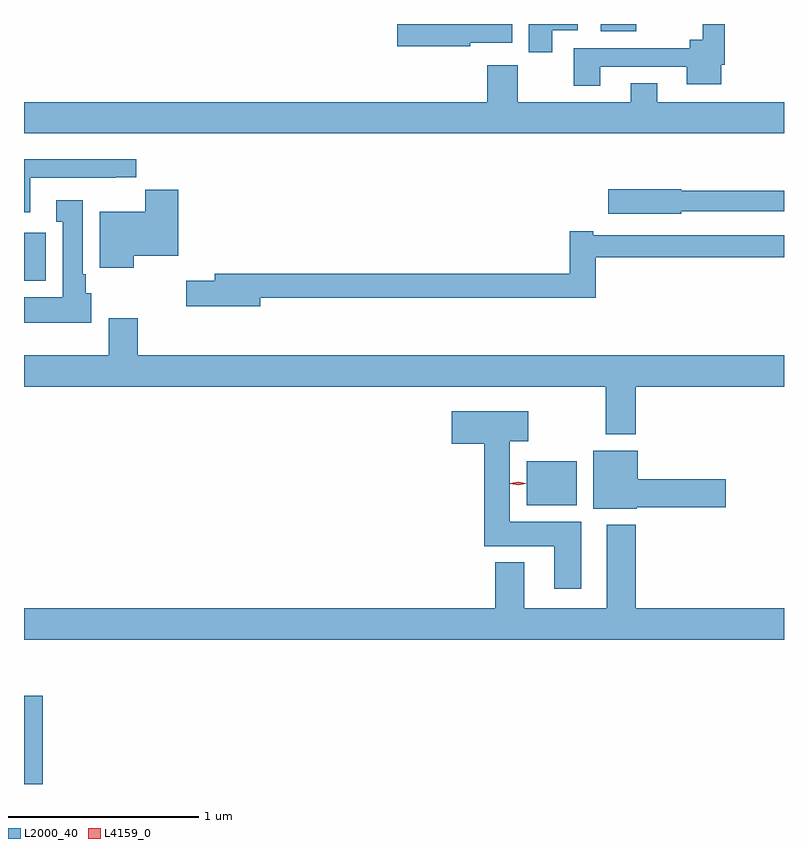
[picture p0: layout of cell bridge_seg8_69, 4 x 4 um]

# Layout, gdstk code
import gdstk
lib = gdstk.Library(unit=1e-6, precision=1e-09)
def R(c, l, rs):  # rectangles x0, y0, x1, y1
    for r in rs: c.add(gdstk.rectangle(r[:2], r[2:], *l))
def P(c, l, *ps):  # polygons
    for p in ps: c.add(gdstk.Polygon(p, *l))
L2000_40 = (2000, 40)
L4159_0 = (4159, 0)

bridge_seg8_69 = lib.new_cell('bridge_seg8_69')
R(bridge_seg8_69, L2000_40, [(923.277,1083.772,923.375,1084.237), (925.922,1085.24,926.185,1085.47), (923.277,1086.422,923.391,1086.673), (926.312,1087.733,926.5,1087.772)])
P(bridge_seg8_69, L2000_40, [(926.311,1087.548),(926.765,1087.548),(926.765,1087.454),(926.947,1087.454),(926.947,1087.558),(926.966,1087.558),(926.966,1087.772),(926.85,1087.772),(926.85,1087.69),(926.78,1087.69),(926.78,1087.644),(926.171,1087.644),(926.171,1087.446),(926.311,1087.446)],
  [(926.056,1087.739),(926.191,1087.739),(926.191,1087.772),(925.934,1087.772),(925.934,1087.623),(926.056,1087.623)],
  [(925.626,1087.673),(925.846,1087.673),(925.846,1087.772),(925.242,1087.772),(925.242,1087.654),(925.626,1087.654)],
  [(927.277,1087.36),(926.611,1087.36),(926.611,1087.459),(926.471,1087.459),(926.471,1087.36),(925.875,1087.36),(925.875,1087.555),(925.715,1087.555),(925.715,1087.36),(923.277,1087.36),(923.277,1087.196),(927.277,1087.196)],
  [(923.311,1086.963),(923.759,1086.963),(923.759,1086.965),(923.868,1086.965),(923.868,1087.06),(923.277,1087.06),(923.277,1086.782),(923.311,1086.782)],
  [(926.736,1086.786),(927.277,1086.786),(927.277,1086.895),(926.736,1086.895),(926.736,1086.903),(926.352,1086.903),(926.352,1086.773),(926.736,1086.773)],
  [(923.854,1086.551),(924.089,1086.551),(924.089,1086.9),(923.915,1086.9),(923.915,1086.784),(923.675,1086.784),(923.675,1086.488),(923.854,1086.488)],
  [(923.632,1086.354),(923.602,1086.354),(923.602,1086.454),(923.587,1086.454),(923.587,1086.844),(923.447,1086.844),(923.447,1086.731),(923.48,1086.731),(923.48,1086.334),(923.277,1086.334),(923.277,1086.2),(923.632,1086.2)],
  [(924.52,1086.33),(926.285,1086.33),(926.285,1086.544),(927.277,1086.544),(927.277,1086.66),(926.272,1086.66),(926.272,1086.68),(926.149,1086.68),(926.149,1086.458),(924.281,1086.458),(924.281,1086.422),(924.132,1086.422),(924.132,1086.287),(924.52,1086.287)],
  [(926.498,1085.864),(927.277,1085.864),(927.277,1086.028),(923.876,1086.028),(923.876,1086.223),(923.723,1086.223),(923.723,1086.028),(923.277,1086.028),(923.277,1085.864),(926.338,1085.864),(926.338,1085.612),(926.498,1085.612)],
  [(926.209,1085.152),(925.834,1085.152),(925.834,1085.576),(925.93,1085.576),(925.93,1085.734),(925.527,1085.734),(925.527,1085.564),(925.7,1085.564),(925.7,1085.024),(926.069,1085.024),(926.069,1084.8),(926.209,1084.8)],
  [(926.502,1085.228),(926.971,1085.228),(926.971,1085.375),(926.506,1085.375),(926.506,1085.527),(926.273,1085.527),(926.273,1085.222),(926.502,1085.222)],
  [(927.277,1084.696),(926.498,1084.696),(926.498,1085.137),(926.345,1085.137),(926.345,1084.696),(925.909,1084.696),(925.909,1084.939),(925.757,1084.939),(925.757,1084.696),(923.277,1084.696),(923.277,1084.532),(927.277,1084.532)])
P(bridge_seg8_69, L4159_0, [(925.877,1085.344),(925.836,1085.353),(925.836,1085.354),(925.836,1085.354),(925.877,1085.364),(925.918,1085.354),(925.918,1085.354),(925.918,1085.353)])

lib.write_gds('bridge_seg8_69.gds')
